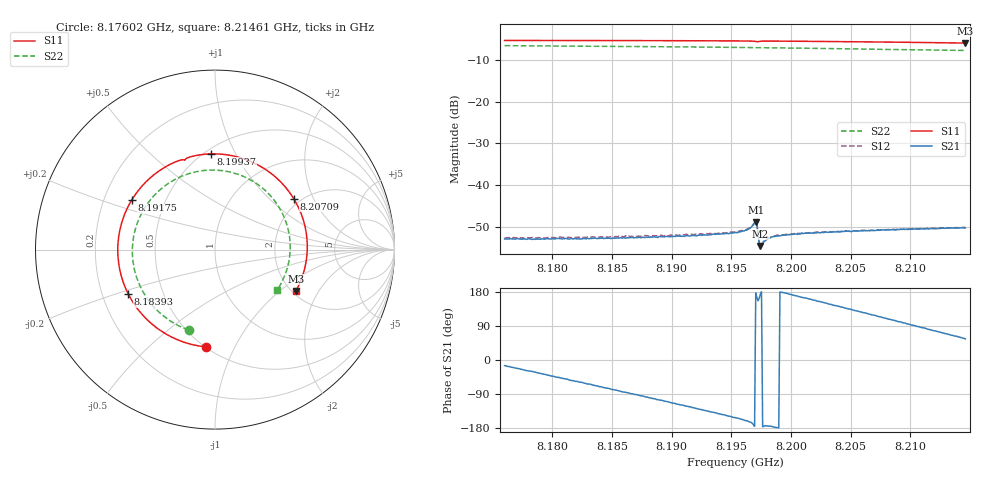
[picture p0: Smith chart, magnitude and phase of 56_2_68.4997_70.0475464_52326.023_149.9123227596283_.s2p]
#  HZ  S  RI  R  50.00
! Rohde & Schwarz Vector Network Analyzer
! Rohde-Schwarz,ZNB20-2Port,1311601062101988,3.16
! Created: UTC 3/20/2024, 5:06:12 PM
! freq[Hz]  re:S11  im:S11  re:S21  im:S21  re:S12  im:S12  re:S22  im:S22
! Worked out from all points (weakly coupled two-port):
!   401 points, 8.17602 GHz to 8.21461 GHz, reference 50 ohm
!   highest |S21| = -48.94 dB at 8.19705 GHz (marker M1); lowest = -54.7 dB at 8.19744 GHz (marker M2)
!   lowest |S11| = -5.9 dB at 8.21461 GHz (marker M3), VSWR 3.05, Z = 105 - j64.9 ohm
!   |S11| at or under -10 dB: nowhere
!   |S22| runs from -7.7 to -6.5 dB; largest |S21 - S12| = 0.00018
!   S11 on the Smith chart (normalised r, x): 8.17602 GHz: 0.50, -0.78; 8.18393 GHz: 0.31, -0.22; 8.19175 GHz: 0.32, +0.25; 8.19937 GHz: 0.54, +0.80; 8.20709 GHz: 1.83, +1.44; 8.21461 GHz: 2.10, -1.30
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8.176021e9  -0.0505 -0.542  0.00217 -0.000571  0.0022 -0.000595  -0.1472 -0.448
8.179108e9  -0.2528 -0.4815  0.00182 -0.00132  0.00186 -0.00141  -0.2976 -0.3611
8.182485e9  -0.43 -0.3321  0.00116 -0.00194  0.00116 -0.00205  -0.4129 -0.2126
8.183932e9  -0.4835 -0.2469  0.000764 -0.00214  0.000783 -0.00222  -0.442 -0.1375
8.186537e9  -0.5369 -0.0745  6.98e-05 -0.00232  5.39e-05 -0.0024  -0.4604 0.00569
8.188949e9  -0.533 0.0933  -0.000636 -0.00232  -0.00069 -0.00237  -0.4367 0.1374
8.191747e9  -0.4642 0.2757  -0.00145 -0.00201  -0.00156 -0.00202  -0.3629 0.2737
8.195317e9  -0.2892 0.4531  -0.00236 -0.00126  -0.00246 -0.0012  -0.209 0.398
8.196378e9  -0.222 0.4881  -0.00275 -0.000955  -0.00285 -0.000823  -0.1537 0.4206
8.196957e9  -0.1803 0.5006  -0.00347 -0.000293  -0.00353 -0.000157  -0.1224 0.4297
8.197053e9  -0.173 0.5  -0.00357 0.000185  -0.00362 0.000344  -0.1171 0.4307
8.197439e9  -0.1582 0.5084  -0.00184 0.000205  -0.00182 0.000256  -0.0962 0.4355
8.197536e9  -0.1513 0.5119  -0.00188 4.43e-06  -0.00196 5.64e-05  -0.0908 0.4365
8.198308e9  -0.0961 0.5261  -0.00233 -0.000219  -0.00235 -9.94e-05  -0.0474 0.442
8.199369e9  -0.0208 0.5334  -0.0025 9.82e-05  -0.00249 0.000191  0.0129 0.4423
8.201781e9  0.1475 0.5099  -0.00247 0.000953  -0.00249 0.00106  0.1467 0.4126
8.204289e9  0.3051 0.4301  -0.00209 0.00181  -0.00204 0.00188  0.2703 0.338
8.207087e9  0.4384 0.2844  -0.0013 0.00251  -0.00121 0.00261  0.3715 0.2097
8.208245e9  0.4756 0.211  -0.000877 0.00274  -0.000801 0.0028  0.398 0.1463
8.209885e9  0.5075 0.0986  -0.00022 0.00293  -0.000143 0.00296  0.4177 0.0499
8.211429e9  0.5134 -0.0115  0.000424 0.00295  0.000484 0.00299  0.4153 -0.0442
8.214613e9  0.4511 -0.2297  0.00171 0.00252  0.00178 0.00253  0.3447 -0.2273
